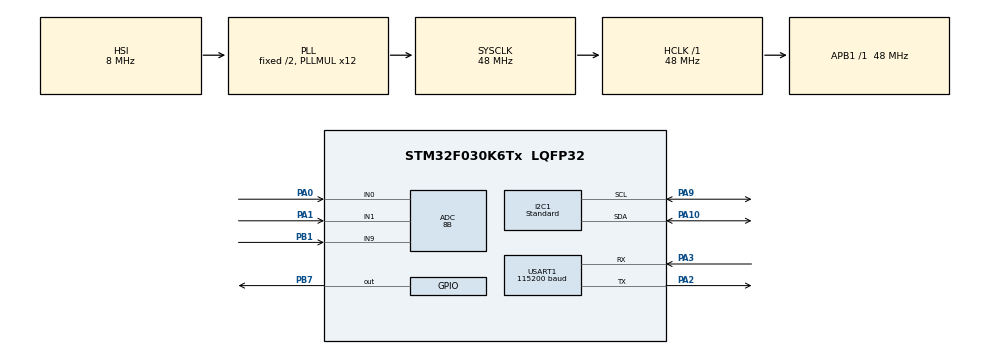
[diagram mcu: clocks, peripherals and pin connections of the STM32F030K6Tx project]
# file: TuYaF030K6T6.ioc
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ADC.ContinuousConvMode=DISABLE
ADC.DMAContinuousRequests=ENABLE
ADC.DiscontinuousConvMode=ENABLE
ADC.Resolution=ADC_RESOLUTION_8B
ADC.SamplingTime=ADC_SAMPLETIME_1CYCLE_5
Dma.ADC.0.Direction=DMA_PERIPH_TO_MEMORY
Dma.ADC.0.Instance=DMA1_Channel1
Dma.ADC.0.MemDataAlignment=DMA_MDATAALIGN_BYTE
Dma.ADC.0.MemInc=DMA_MINC_ENABLE
Dma.ADC.0.Mode=DMA_CIRCULAR
Dma.ADC.0.PeriphDataAlignment=DMA_PDATAALIGN_BYTE
Dma.ADC.0.PeriphInc=DMA_PINC_DISABLE
Dma.ADC.0.Priority=DMA_PRIORITY_HIGH
Dma.Request0=ADC
I2C1.I2C_Speed_Mode=I2C_Standard
I2C1.Timing=0x20303E5D
Mcu.Family=STM32F0
Mcu.Name=STM32F030K6Tx
Mcu.Package=LQFP32
NVIC.ADC1_IRQn=true\:0\:0\:false\:false\:true\:true\:true
NVIC.DMA1_Channel1_IRQn=true\:0\:0\:false\:false\:true\:false\:true
NVIC.USART1_IRQn=true\:0\:0\:false\:false\:true\:true\:true
PA0.Mode=IN0
PA0.Signal=ADC_IN0
PA1.Mode=IN1
PA1.Signal=ADC_IN1
PA10.Mode=I2C
PA10.Signal=I2C1_SDA
PA13.Mode=Serial_Wire
PA13.Signal=SYS_SWDIO
PA14.Mode=Serial_Wire
PA14.Signal=SYS_SWCLK
PA2.Mode=Asynchronous
PA2.Signal=USART1_TX
PA3.Mode=Asynchronous
PA3.Signal=USART1_RX
PA9.Mode=I2C
PA9.Signal=I2C1_SCL
PB1.Mode=IN9
PB1.Signal=ADC_IN9
PB7.Signal=GPIO_Output
ProjectManager.HeapSize=0x200
ProjectManager.StackSize=0x400
ProjectManager.TargetToolchain=STM32CubeIDE
RCC.AHBFreq_Value=48000000
RCC.APB1Freq_Value=48000000
RCC.APB1TimFreq_Value=48000000
RCC.HCLKFreq_Value=48000000
RCC.I2c1ClockSelection=RCC_I2C1CLKSOURCE_SYSCLK
RCC.PLLMUL=RCC_PLL_MUL12
RCC.SYSCLKFreq_VALUE=48000000
RCC.SYSCLKSource=RCC_SYSCLKSOURCE_PLLCLK
USART1.BaudRate=115200
USART1.VirtualMode-Asynchronous=VM_ASYNC
board=custom

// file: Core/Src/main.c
/* USER CODE BEGIN Header */
/**
 ******************************************************************************
 * @file           : main.c
 * @brief          : Main program body
 ******************************************************************************
 * @attention
 *
 * <h2><center>&copy; Copyright (c) 2021 STMicroelectronics.
 * All rights reserved.</center></h2>
 *
 * This software component is licensed by ST under BSD 3-Clause license,
 * the "License"; You may not use this file except in compliance with the
 * License. You may obtain a copy of the License at:
 *                        opensource.org/licenses/BSD-3-Clause
 *
 ******************************************************************************
 */
/* USER CODE END Header */
#include "main.h"

/* USER CODE BEGIN Includes */
#include "oled.h"
#include "hard.h"
#include "wifi.h"
/* USER CODE END Includes */

ADC_HandleTypeDef hadc;
DMA_HandleTypeDef hdma_adc;

I2C_HandleTypeDef hi2c1;

UART_HandleTypeDef huart1;

void SystemClock_Config(void);
static void MX_GPIO_Init(void);
static void MX_DMA_Init(void);
static void MX_ADC_Init(void);
static void MX_I2C1_Init(void);
static void MX_USART1_UART_Init(void);
/* USER CODE BEGIN PFP */
unsigned char aRxBuffer,ADval[3];
float Temperature=0,Humidity=0;
/* USER CODE END PFP */

int main(void)
{
	/* USER CODE BEGIN 1 */
	unsigned char tick=0;

	/* USER CODE END 1 */

	/* MCU Configuration--------------------------------------------------------*/

	/* Reset of all peripherals, Initializes the Flash interface and the Systick. */
	HAL_Init();

	/* Configure the system clock */
	SystemClock_Config();

	/* Initialize all configured peripherals */
	MX_GPIO_Init();
	MX_DMA_Init();
	MX_ADC_Init();
	MX_I2C1_Init();
	MX_USART1_UART_Init();
	/* USER CODE BEGIN 2 */
	OLED_Init();
	OLED_Clear();
	OLED_ShowString(0, 0, (unsigned char*)"Hello,World!!", 16);
	OLED_Refreash();
	HAL_Delay(200);
	sht30_init();
	wifi_protocol_init();
	/* USER CODE END 2 */

	/* Infinite loop */
	/* USER CODE BEGIN WHILE */
	HAL_UART_Receive_IT(&huart1,&aRxBuffer,1);
	while (1)
	{
		wifi_uart_service();
		/* USER CODE END WHILE */

		/* USER CODE BEGIN 3 */
		/*
		for(i=0;i<3;i++)
		{
			HAL_ADC_Start(&hadc);
			HAL_ADC_PollForConversion(&hadc,10);
			ADval[i]=HAL_ADC_GetValue(&hadc);
		}
		HAL_ADC_Stop(&hadc);
		 */
		//利用DMA获取ADC数据
		HAL_ADC_Start_DMA(&hadc, (uint32_t*)ADval, sizeof(ADval));
		sht30_sample(&Temperature, &Humidity);
		HAL_GPIO_TogglePin(GPIOB, GPIO_PIN_7);
		tick++;
		//输出tick
		OLED_ShowNum(0, 2, tick, 3, 16);
		//输出百分比亮
		//ADval[0]=(unsigned char)(100-ADval[0]*100/255.0);
		OLED_ShowString(0, 4, (unsigned char*)"Light:", 16);
		OLED_ShowNum(48, 4, 100-ADval[0]*100/255.0, 3, 16);
		all_data_update();
		//OLED_ShowNum(0, 6, ADval[1], 4, 16);
		//OLED_ShowNum(48, 6, ADval[2], 4, 16);
		//输出温度
		OLED_ShowString(0, 6, (unsigned char*)"Temp:", 16);
		OLED_ShowNum(5*8, 6, Temperature, 2, 16);
		OLED_ShowString(7*8, 6, (unsigned char*)".", 16);
		OLED_ShowNum(8*8, 6, ((int)(Temperature*10))%10, 1, 16);
		//输出湿度
		OLED_ShowString(9*8, 6, (unsigned char*)"Humi:", 16);
		OLED_ShowNum(14*8, 6, Humidity, 2, 16);
		//刷新oled
		OLED_Refreash();
		//延时100ms
		HAL_Delay(100);
	}
	/* USER CODE END 3 */
}

void SystemClock_Config(void)
{
	RCC_OscInitTypeDef RCC_OscInitStruct = {0};
	RCC_ClkInitTypeDef RCC_ClkInitStruct = {0};
	RCC_PeriphCLKInitTypeDef PeriphClkInit = {0};

	/** Initializes the RCC Oscillators according to the specified parameters
	 * in the RCC_OscInitTypeDef structure.
	 */
	RCC_OscInitStruct.OscillatorType = RCC_OSCILLATORTYPE_HSI|RCC_OSCILLATORTYPE_HSI14;
	RCC_OscInitStruct.HSIState = RCC_HSI_ON;
	RCC_OscInitStruct.HSI14State = RCC_HSI14_ON;
	RCC_OscInitStruct.HSICalibrationValue = RCC_HSICALIBRATION_DEFAULT;
	RCC_OscInitStruct.HSI14CalibrationValue = 16;
	RCC_OscInitStruct.PLL.PLLState = RCC_PLL_ON;
	RCC_OscInitStruct.PLL.PLLSource = RCC_PLLSOURCE_HSI;
	RCC_OscInitStruct.PLL.PLLMUL = RCC_PLL_MUL12;
	RCC_OscInitStruct.PLL.PREDIV = RCC_PREDIV_DIV1;
	if (HAL_RCC_OscConfig(&RCC_OscInitStruct) != HAL_OK)
	{
		Error_Handler();
	}
	/** Initializes the CPU, AHB and APB buses clocks
	 */
	RCC_ClkInitStruct.ClockType = RCC_CLOCKTYPE_HCLK|RCC_CLOCKTYPE_SYSCLK
			|RCC_CLOCKTYPE_PCLK1;
	RCC_ClkInitStruct.SYSCLKSource = RCC_SYSCLKSOURCE_PLLCLK;
	RCC_ClkInitStruct.AHBCLKDivider = RCC_SYSCLK_DIV1;
	RCC_ClkInitStruct.APB1CLKDivider = RCC_HCLK_DIV1;

	if (HAL_RCC_ClockConfig(&RCC_ClkInitStruct, FLASH_LATENCY_1) != HAL_OK)
	{
		Error_Handler();
	}
	PeriphClkInit.PeriphClockSelection = RCC_PERIPHCLK_USART1|RCC_PERIPHCLK_I2C1;
	PeriphClkInit.Usart1ClockSelection = RCC_USART1CLKSOURCE_PCLK1;
	PeriphClkInit.I2c1ClockSelection = RCC_I2C1CLKSOURCE_SYSCLK;
	if (HAL_RCCEx_PeriphCLKConfig(&PeriphClkInit) != HAL_OK)
	{
		Error_Handler();
	}
}

static void MX_ADC_Init(void)
{

	ADC_ChannelConfTypeDef sConfig = {0};

	/** Configure the global features of the ADC (Clock, Resolution, Data Alignment and number of conversion)
	 */
	hadc.Instance = ADC1;
	hadc.Init.ClockPrescaler = ADC_CLOCK_ASYNC_DIV1;
	hadc.Init.Resolution = ADC_RESOLUTION_8B;
	hadc.Init.DataAlign = ADC_DATAALIGN_RIGHT;
	hadc.Init.ScanConvMode = ADC_SCAN_DIRECTION_FORWARD;
	hadc.Init.EOCSelection = ADC_EOC_SINGLE_CONV;
	hadc.Init.LowPowerAutoWait = DISABLE;
	hadc.Init.LowPowerAutoPowerOff = DISABLE;
	hadc.Init.ContinuousConvMode = DISABLE;
	hadc.Init.DiscontinuousConvMode = ENABLE;
	hadc.Init.ExternalTrigConv = ADC_SOFTWARE_START;
	hadc.Init.ExternalTrigConvEdge = ADC_EXTERNALTRIGCONVEDGE_NONE;
	hadc.Init.DMAContinuousRequests = ENABLE;
	hadc.Init.Overrun = ADC_OVR_DATA_PRESERVED;
	if (HAL_ADC_Init(&hadc) != HAL_OK)
	{
		Error_Handler();
	}
	/** Configure for the selected ADC regular channel to be converted.
	 */
	sConfig.Channel = ADC_CHANNEL_0;
	sConfig.Rank = ADC_RANK_CHANNEL_NUMBER;
	sConfig.SamplingTime = ADC_SAMPLETIME_1CYCLE_5;
	if (HAL_ADC_ConfigChannel(&hadc, &sConfig) != HAL_OK)
	{
		Error_Handler();
	}
	/** Configure for the selected ADC regular channel to be converted.
	 */
	sConfig.Channel = ADC_CHANNEL_1;
	if (HAL_ADC_ConfigChannel(&hadc, &sConfig) != HAL_OK)
	{
		Error_Handler();
	}
	/** Configure for the selected ADC regular channel to be converted.
	 */
	sConfig.Channel = ADC_CHANNEL_9;
	if (HAL_ADC_ConfigChannel(&hadc, &sConfig) != HAL_OK)
	{
		Error_Handler();
	}

}

static void MX_I2C1_Init(void)
{

	hi2c1.Instance = I2C1;
	hi2c1.Init.Timing = 0x20303E5D;
	hi2c1.Init.OwnAddress1 = 0;
	hi2c1.Init.AddressingMode = I2C_ADDRESSINGMODE_7BIT;
	hi2c1.Init.DualAddressMode = I2C_DUALADDRESS_DISABLE;
	hi2c1.Init.OwnAddress2 = 0;
	hi2c1.Init.OwnAddress2Masks = I2C_OA2_NOMASK;
	hi2c1.Init.GeneralCallMode = I2C_GENERALCALL_DISABLE;
	hi2c1.Init.NoStretchMode = I2C_NOSTRETCH_DISABLE;
	if (HAL_I2C_Init(&hi2c1) != HAL_OK)
	{
		Error_Handler();
	}
	/** Configure Analogue filter
	 */
	if (HAL_I2CEx_ConfigAnalogFilter(&hi2c1, I2C_ANALOGFILTER_ENABLE) != HAL_OK)
	{
		Error_Handler();
	}
	/** Configure Digital filter
	 */
	if (HAL_I2CEx_ConfigDigitalFilter(&hi2c1, 0) != HAL_OK)
	{
		Error_Handler();
	}

}

static void MX_USART1_UART_Init(void)
{

	huart1.Instance = USART1;
	huart1.Init.BaudRate = 115200;
	huart1.Init.WordLength = UART_WORDLENGTH_8B;
	huart1.Init.StopBits = UART_STOPBITS_1;
	huart1.Init.Parity = UART_PARITY_NONE;
	huart1.Init.Mode = UART_MODE_TX_RX;
	huart1.Init.HwFlowCtl = UART_HWCONTROL_NONE;
	huart1.Init.OverSampling = UART_OVERSAMPLING_16;
	huart1.Init.OneBitSampling = UART_ONE_BIT_SAMPLE_DISABLE;
	huart1.AdvancedInit.AdvFeatureInit = UART_ADVFEATURE_NO_INIT;
	if (HAL_UART_Init(&huart1) != HAL_OK)
	{
		Error_Handler();
	}

}

static void MX_DMA_Init(void)
{

	/* DMA controller clock enable */
	__HAL_RCC_DMA1_CLK_ENABLE();

	/* DMA interrupt init */
	/* DMA1_Channel1_IRQn interrupt configuration */
	HAL_NVIC_SetPriority(DMA1_Channel1_IRQn, 0, 0);
	HAL_NVIC_EnableIRQ(DMA1_Channel1_IRQn);

}

static void MX_GPIO_Init(void)
{
	GPIO_InitTypeDef GPIO_InitStruct = {0};

	/* GPIO Ports Clock Enable */
	__HAL_RCC_GPIOA_CLK_ENABLE();
	__HAL_RCC_GPIOB_CLK_ENABLE();

	/*Configure GPIO pin Output Level */
	HAL_GPIO_WritePin(GPIOB, GPIO_PIN_7, GPIO_PIN_RESET);

	/*Configure GPIO pin : PB7 */
	GPIO_InitStruct.Pin = GPIO_PIN_7;
	GPIO_InitStruct.Mode = GPIO_MODE_OUTPUT_PP;
	GPIO_InitStruct.Pull = GPIO_NOPULL;
	GPIO_InitStruct.Speed = GPIO_SPEED_FREQ_LOW;
	HAL_GPIO_Init(GPIOB, &GPIO_InitStruct);

}

/* USER CODE BEGIN 4 */
void HAL_UART_RxCpltCallback(UART_HandleTypeDef *huart)
{
	UNUSED(huart);
	uart_receive_input(aRxBuffer);
	//HAL_UART_Transmit(&huart1, &aRxBuffer, 1, 0xff);
	HAL_UART_Receive_IT(&huart1,&aRxBuffer,1);
}
/* USER CODE END 4 */

void Error_Handler(void)
{
	__disable_irq();
	while (1)
	{
	}
}

/************************ (C) COPYRIGHT STMicroelectronics *****END OF FILE****/
